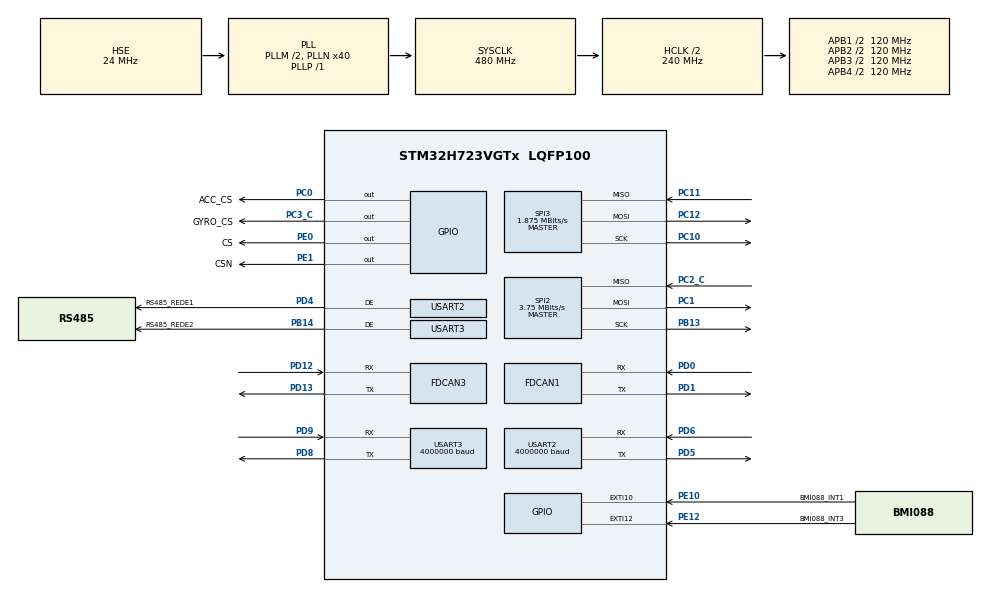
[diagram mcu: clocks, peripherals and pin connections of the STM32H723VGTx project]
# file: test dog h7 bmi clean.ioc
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CORTEX_M7.default_mode_Activation=1
Dma.Request0=USART2_RX
Dma.Request1=USART2_TX
Dma.Request2=USART3_RX
Dma.Request3=USART3_TX
Dma.USART2_RX.0.Direction=DMA_PERIPH_TO_MEMORY
Dma.USART2_RX.0.EventEnable=DISABLE
Dma.USART2_RX.0.FIFOMode=DMA_FIFOMODE_DISABLE
Dma.USART2_RX.0.Instance=DMA2_Stream0
Dma.USART2_RX.0.MemDataAlignment=DMA_MDATAALIGN_BYTE
Dma.USART2_RX.0.MemInc=DMA_MINC_ENABLE
Dma.USART2_RX.0.Mode=DMA_NORMAL
Dma.USART2_RX.0.PeriphDataAlignment=DMA_PDATAALIGN_BYTE
Dma.USART2_RX.0.PeriphInc=DMA_PINC_DISABLE
Dma.USART2_RX.0.Polarity=HAL_DMAMUX_REQ_GEN_RISING
Dma.USART2_RX.0.Priority=DMA_PRIORITY_MEDIUM
Dma.USART2_RX.0.RequestNumber=1
Dma.USART2_RX.0.SignalID=NONE
Dma.USART2_RX.0.SyncEnable=DISABLE
Dma.USART2_RX.0.SyncPolarity=HAL_DMAMUX_SYNC_NO_EVENT
Dma.USART2_RX.0.SyncRequestNumber=1
Dma.USART2_RX.0.SyncSignalID=NONE
Dma.USART2_TX.1.Direction=DMA_MEMORY_TO_PERIPH
Dma.USART2_TX.1.EventEnable=DISABLE
Dma.USART2_TX.1.FIFOMode=DMA_FIFOMODE_DISABLE
Dma.USART2_TX.1.Instance=DMA2_Stream1
Dma.USART2_TX.1.MemDataAlignment=DMA_MDATAALIGN_BYTE
Dma.USART2_TX.1.MemInc=DMA_MINC_ENABLE
Dma.USART2_TX.1.Mode=DMA_NORMAL
Dma.USART2_TX.1.PeriphDataAlignment=DMA_PDATAALIGN_BYTE
Dma.USART2_TX.1.PeriphInc=DMA_PINC_DISABLE
Dma.USART2_TX.1.Polarity=HAL_DMAMUX_REQ_GEN_RISING
Dma.USART2_TX.1.Priority=DMA_PRIORITY_MEDIUM
Dma.USART2_TX.1.RequestNumber=1
Dma.USART2_TX.1.SignalID=NONE
Dma.USART2_TX.1.SyncEnable=DISABLE
Dma.USART2_TX.1.SyncPolarity=HAL_DMAMUX_SYNC_NO_EVENT
Dma.USART2_TX.1.SyncRequestNumber=1
Dma.USART2_TX.1.SyncSignalID=NONE
Dma.USART3_RX.2.Direction=DMA_PERIPH_TO_MEMORY
Dma.USART3_RX.2.EventEnable=DISABLE
Dma.USART3_RX.2.FIFOMode=DMA_FIFOMODE_DISABLE
Dma.USART3_RX.2.Instance=DMA1_Stream2
Dma.USART3_RX.2.MemDataAlignment=DMA_MDATAALIGN_BYTE
Dma.USART3_RX.2.MemInc=DMA_MINC_ENABLE
Dma.USART3_RX.2.Mode=DMA_NORMAL
Dma.USART3_RX.2.PeriphDataAlignment=DMA_PDATAALIGN_BYTE
Dma.USART3_RX.2.PeriphInc=DMA_PINC_DISABLE
Dma.USART3_RX.2.Polarity=HAL_DMAMUX_REQ_GEN_RISING
Dma.USART3_RX.2.Priority=DMA_PRIORITY_MEDIUM
Dma.USART3_RX.2.RequestNumber=1
Dma.USART3_RX.2.SignalID=NONE
Dma.USART3_RX.2.SyncEnable=DISABLE
Dma.USART3_RX.2.SyncPolarity=HAL_DMAMUX_SYNC_NO_EVENT
Dma.USART3_RX.2.SyncRequestNumber=1
Dma.USART3_RX.2.SyncSignalID=NONE
Dma.USART3_TX.3.Direction=DMA_MEMORY_TO_PERIPH
Dma.USART3_TX.3.EventEnable=DISABLE
Dma.USART3_TX.3.FIFOMode=DMA_FIFOMODE_DISABLE
Dma.USART3_TX.3.Instance=DMA1_Stream3
Dma.USART3_TX.3.MemDataAlignment=DMA_MDATAALIGN_BYTE
Dma.USART3_TX.3.MemInc=DMA_MINC_ENABLE
Dma.USART3_TX.3.Mode=DMA_NORMAL
Dma.USART3_TX.3.PeriphDataAlignment=DMA_PDATAALIGN_BYTE
Dma.USART3_TX.3.PeriphInc=DMA_PINC_DISABLE
Dma.USART3_TX.3.Polarity=HAL_DMAMUX_REQ_GEN_RISING
Dma.USART3_TX.3.Priority=DMA_PRIORITY_MEDIUM
Dma.USART3_TX.3.RequestNumber=1
Dma.USART3_TX.3.SignalID=NONE
Dma.USART3_TX.3.SyncEnable=DISABLE
Dma.USART3_TX.3.SyncPolarity=HAL_DMAMUX_SYNC_NO_EVENT
Dma.USART3_TX.3.SyncRequestNumber=1
Dma.USART3_TX.3.SyncSignalID=NONE
FDCAN1.CalculateBaudRateNominal=1000000
FDCAN1.CalculateTimeBitNominal=1000
FDCAN1.CalculateTimeQuantumNominal=25.0
FDCAN1.DataPrescaler=3
FDCAN1.DataSyncJumpWidth=10
FDCAN1.DataTimeSeg1=29
FDCAN1.DataTimeSeg2=10
FDCAN1.NominalPrescaler=3
FDCAN1.NominalSyncJumpWidth=10
FDCAN1.NominalTimeSeg1=29
FDCAN1.NominalTimeSeg2=10
FDCAN1.ProtocolException=ENABLE
FDCAN1.RxFifo0ElmtsNbr=2
FDCAN1.StdFiltersNbr=1
FDCAN1.TxFifoQueueElmtsNbr=2
FDCAN3.CalculateBaudRateNominal=1000000
FDCAN3.CalculateTimeBitNominal=1000
FDCAN3.CalculateTimeQuantumNominal=25.0
FDCAN3.DataPrescaler=3
FDCAN3.DataSyncJumpWidth=10
FDCAN3.DataTimeSeg1=29
FDCAN3.DataTimeSeg2=10
FDCAN3.MessageRAMOffset=0
FDCAN3.NominalPrescaler=3
FDCAN3.NominalSyncJumpWidth=10
FDCAN3.NominalTimeSeg1=29
FDCAN3.NominalTimeSeg2=10
FDCAN3.ProtocolException=ENABLE
FDCAN3.RxFifo0ElmtsNbr=2
FDCAN3.StdFiltersNbr=1
FDCAN3.TxFifoQueueElmtsNbr=2
Mcu.Family=STM32H7
Mcu.Name=STM32H723VGTx
Mcu.Package=LQFP100
NVIC.DMA1_Stream2_IRQn=true\:0\:0\:false\:false\:true\:false\:true\:true
NVIC.DMA1_Stream3_IRQn=true\:0\:0\:false\:false\:true\:false\:true\:true
NVIC.DMA2_Stream0_IRQn=true\:0\:0\:false\:false\:true\:false\:true\:true
NVIC.DMA2_Stream1_IRQn=true\:0\:0\:false\:false\:true\:false\:true\:true
NVIC.EXTI15_10_IRQn=true\:0\:0\:false\:false\:true\:true\:true\:true
NVIC.FDCAN1_IT0_IRQn=true\:1\:0\:true\:false\:true\:true\:true\:true
NVIC.FDCAN1_IT1_IRQn=true\:1\:0\:true\:false\:true\:true\:true\:true
NVIC.FDCAN3_IT0_IRQn=true\:1\:0\:true\:false\:true\:true\:true\:true
NVIC.FDCAN3_IT1_IRQn=true\:1\:0\:true\:false\:true\:true\:true\:true
NVIC.FDCAN_CAL_IRQn=true\:0\:0\:false\:false\:true\:true\:true\:true
NVIC.PriorityGroup=NVIC_PRIORITYGROUP_4
NVIC.TIM3_IRQn=true\:3\:0\:true\:false\:true\:true\:true\:true
NVIC.TIM4_IRQn=true\:3\:0\:true\:false\:true\:true\:true\:true
NVIC.USART2_IRQn=true\:3\:0\:true\:false\:true\:true\:true\:true
NVIC.USART3_IRQn=true\:3\:0\:true\:false\:true\:true\:true\:true
PA13(JTMS/SWDIO).Signal=DEBUG_JTMS-SWDIO
PA14(JTCK/SWCLK).Signal=DEBUG_JTCK-SWCLK
PB14.GPIO_Label=RS485_REDE2
PB14.Mode=Hardware Flow Control (RS485)
PB14.Signal=USART3_DE
PC10.Mode=Full_Duplex_Master
PC10.Signal=SPI3_SCK
PC11.Mode=Full_Duplex_Master
PC11.Signal=SPI3_MISO
PC12.Mode=Full_Duplex_Master
PC12.Signal=SPI3_MOSI
PB13.Mode=Full_Duplex_Master
PB13.Signal=SPI2_SCK
PC0.GPIO_Label=ACC_CS
PC0.PinState=GPIO_PIN_SET
PC0.Signal=GPIO_Output
PC1.Mode=Full_Duplex_Master
PC1.Signal=SPI2_MOSI
PC2_C.Mode=Full_Duplex_Master
PC2_C.Signal=SPI2_MISO
PC3_C.GPIO_Label=GYRO_CS
PC3_C.PinState=GPIO_PIN_SET
PC3_C.Signal=GPIO_Output
PD0.Mode=FDCAN_Activate
PD0.Signal=FDCAN1_RX
PD1.Mode=FDCAN_Activate
PD1.Signal=FDCAN1_TX
PD12.Mode=FDCAN_Activate
PD12.Signal=FDCAN3_RX
PD13.Mode=FDCAN_Activate
PD13.Signal=FDCAN3_TX
PD4.GPIO_Label=RS485_REDE1
PD4.Mode=Hardware Flow Control (RS485)
PD4.Signal=USART2_DE
PD5.Mode=Asynchronous
PD5.Signal=USART2_TX
PD6.Mode=Asynchronous
PD6.Signal=USART2_RX
PD8.Mode=Asynchronous
PD8.Signal=USART3_TX
PD9.Mode=Asynchronous
PD9.Signal=USART3_RX
PE0.GPIO_Label=CS
PE0.GPIO_PuPd=GPIO_PULLDOWN
PE0.GPIO_Speed=GPIO_SPEED_FREQ_MEDIUM
PE0.Signal=GPIO_Output
PE1.GPIO_Label=CSN
PE1.GPIO_PuPd=GPIO_PULLUP
PE1.GPIO_Speed=GPIO_SPEED_FREQ_MEDIUM
PE1.PinState=GPIO_PIN_SET
PE1.Signal=GPIO_Output
PE10.GPIO_Label=BMI088_INT1
PE10.GPIO_PuPd=GPIO_PULLDOWN
PE10.Signal=GPXTI10
PE12.GPIO_Label=BMI088_INT3
PE12.GPIO_PuPd=GPIO_PULLDOWN
PE12.Signal=GPXTI12
PH0-OSC_IN.Mode=HSE-External-Oscillator
PH0-OSC_IN.Signal=RCC_OSC_IN
PH1-OSC_OUT.Mode=HSE-External-Oscillator
PH1-OSC_OUT.Signal=RCC_OSC_OUT
ProjectManager.HeapSize=0x200
ProjectManager.StackSize=0x400
ProjectManager.TargetToolchain=STM32CubeIDE
RCC.ADCFreq_Value=48375000
RCC.APB1Freq_Value=120000000
RCC.APB2Freq_Value=120000000
RCC.APB3Freq_Value=120000000
RCC.APB4Freq_Value=120000000
RCC.CortexFreq_Value=480000000
RCC.D1PPRE=RCC_APB3_DIV2
RCC.D2PPRE1=RCC_APB1_DIV2
RCC.D2PPRE2=RCC_APB2_DIV2
RCC.D3PPRE=RCC_APB4_DIV2
RCC.DIVM1=2
RCC.DIVN1=40
RCC.DIVP1=1
RCC.DIVQ1=4
RCC.HCLKFreq_Value=240000000
RCC.HPRE=RCC_HCLK_DIV2
RCC.HSE_VALUE=24000000
RCC.PLL2FRACN=0
RCC.PLL3FRACN=0
RCC.PLLFRACN=0
RCC.PLLSourceVirtual=RCC_PLLSOURCE_HSE
RCC.SYSCLKFreq_VALUE=480000000
RCC.SYSCLKSource=RCC_SYSCLKSOURCE_PLLCLK
RCC.USBFreq_Value=120000000
SPI3.BaudRatePrescaler=SPI_BAUDRATEPRESCALER_64
SPI3.CalculateBaudRate=1.875 MBits/s
SPI3.DataSize=SPI_DATASIZE_8BIT
SPI3.Direction=SPI_DIRECTION_2LINES
SPI3.Mode=SPI_MODE_MASTER
SPI3.VirtualType=VM_MASTER
SPI2.BaudRatePrescaler=SPI_BAUDRATEPRESCALER_32
SPI2.CLKPhase=SPI_PHASE_2EDGE
SPI2.CLKPolarity=SPI_POLARITY_HIGH
SPI2.CalculateBaudRate=3.75 MBits/s
SPI2.DataSize=SPI_DATASIZE_8BIT
SPI2.Direction=SPI_DIRECTION_2LINES
SPI2.Mode=SPI_MODE_MASTER
SPI2.VirtualType=VM_MASTER
TIM3.Period=1000-1
TIM3.Prescaler=120-1
TIM4.Period=1000-1
TIM4.Prescaler=120-1
USART2.BaudRate=4000000
USART2.UART_DEDeassertionTime=0
USART2.VirtualMode-Asynchronous=VM_ASYNC
USART2.VirtualMode-Hardware\ Flow\ Control\ (RS485)=VM_ASYNC
USART3.BaudRate=4000000
USART3.VirtualMode-Asynchronous=VM_ASYNC
USART3.VirtualMode-Hardware\ Flow\ Control\ (RS485)=VM_ASYNC
VP_MEMORYMAP_VS_MEMORYMAP.Mode=CurAppReg
VP_TIM3_VS_ClockSourceINT.Mode=Internal
VP_TIM4_VS_ClockSourceINT.Mode=Internal
board=custom

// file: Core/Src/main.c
/* USER CODE BEGIN Header */
/**
 ******************************************************************************
 * @file           : main.c
 * @brief          : Main program body
 ******************************************************************************
 * @attention
 *
 * Copyright (c) 2026 STMicroelectronics.
 * All rights reserved.
 *
 * This software is licensed under terms that can be found in the LICENSE file
 * in the root directory of this software component.
 * If no LICENSE file comes with this software, it is provided AS-IS.
 *
 ******************************************************************************
 */
/* USER CODE END Header */
#include "main.h"
#include "dma.h"
#include "fdcan.h"
#include "spi.h"
#include "tim.h"
#include "usart.h"
#include "gpio.h"

/* USER CODE BEGIN Includes */
#include "../../BSP/MOTORS/8010/gom_protocol.h"
#include <string.h>
#include "../../BSP/MOTORS/8010/motor_controller.h"
#include "../../BSP/MOTORS/8010/rs485.h"
#include <stdio.h>
#include "../../BSP/MOTORS/3508/3508_driver.h"
#include "../../MIddleware/kinematics.h"
#include "../../Application/gait.h"
#include "../../BSP/AS01/AS01.h"
#include "Attitude_solution.h"
#include "../../Application/control.h"
#include "../../Application/Chassis_Control.h"
/* USER CODE END Includes */

/* USER CODE BEGIN PV */
extern UART_HandleTypeDef huart2;
extern UART_HandleTypeDef huart3;
extern FDCAN_HandleTypeDef hfdcan1; // 确保 FDCAN1 声明存在
extern FDCAN_HandleTypeDef hfdcan3;
Currentpos currentpos1;
Currentpos currentpos2;
Currentpos currentpos3;
Currentpos currentpos4;
LegAngles angles;
QuadrupedGait gait;
extern Motor_3508_T Motors[4];
MotorController ctrl1;
MotorController ctrl2;
RemoteData_t myPacket;
uint8_t rx_buffer[32];
uint8_t rx_data[32];
float gyro[3] = {0};
float accel[3] = {0};
float temp = 0.0f;
uint32_t attitude_last_time = 0;
float debug_pitch = 0.0f;
float debug_roll = 0.0f;
float debug_yaw = 0.0f;
int is_calibrated = 1;
/* USER CODE END PV */

void SystemClock_Config(void);
static void MPU_Config(void);
/* USER CODE BEGIN PFP */
void Task_System_State_Update(void);

/* USER CODE END PFP */

/* USER CODE BEGIN 0 */
void HAL_TIM_PeriodElapsedCallback(TIM_HandleTypeDef *htim) {
	/* USER CODE BEGIN Callback 0 */
	if (htim->Instance == TIM4) {
		static uint8_t step = 0;
		switch (step) {
		case 0:
			MotorController_SendCommand2(&ctrl2, 1);
			step = 1;
			break;
		case 1:
			MotorController_SendCommand2(&ctrl2, 2);
			step = 2;
			break;
		case 2:
			MotorController_SendCommand2(&ctrl2, 7);
			step = 3;
			break;
		case 3:
			MotorController_SendCommand2(&ctrl2, 8);
			step = 0;
			break;
		}
	}
	if (htim->Instance == TIM3) {
		static uint8_t time = 0;
		switch (time) {
		case 0:
			MotorController_SendCommand1(&ctrl1, 3);
			time = 1;
			break;
		case 1:
			MotorController_SendCommand1(&ctrl1, 4);
			time = 2;
			break;
		case 2:
			MotorController_SendCommand1(&ctrl1, 6);
			time = 3;
			break;
		case 3:
			MotorController_SendCommand1(&ctrl1, 5);
			time = 0;
			break;
		}
	}

}

/**
 * @brief   接收回调函数
 * @param   hfdcan      FDCAN句柄指针
 * @param   RxFifo0ITs  FIFO0中断标志
 * @retval  none
 */
// 在你的 main.c 或者 fdcan.c 里的中断回调函数中
void HAL_FDCAN_RxFifo0Callback(FDCAN_HandleTypeDef *hfdcan, uint32_t RxFifo0ITs)
{
    FDCAN_RxHeaderTypeDef RxHeader;
    uint8_t RxData[8];

    if ((RxFifo0ITs & FDCAN_IT_RX_FIFO0_NEW_MESSAGE) != 0) {
        while (HAL_FDCAN_GetRxFifoFillLevel(hfdcan, FDCAN_RX_FIFO0) > 0) {
            if (HAL_FDCAN_GetRxMessage(hfdcan, FDCAN_RX_FIFO0, &RxHeader, RxData) == HAL_OK) {
                if (hfdcan->Instance == FDCAN1) {
                    D3508_Decode(RxData, (uint16_t)RxHeader.Identifier);
                }
                else if (hfdcan->Instance == FDCAN3) {
                    D3508_Decode(RxData, (uint16_t)RxHeader.Identifier);
                }
            }
        }
    }
}

void Task_System_State_Update(void)
{
    uint32_t current_time = HAL_GetTick();
    float dt = (current_time - attitude_last_time) / 1000.0f;
    attitude_last_time = current_time;

    if (dt > 0.1f || dt < 0.001f) {
        dt = 0.01f;
    }

    Attitude_Update(dt);

    debug_pitch = g_Attitude.Angle_Pitch;
    debug_roll = g_Attitude.Angle_Roll;
    debug_yaw = g_Attitude.Angle_Yaw;

    gyro[0] = g_Attitude.Gyro_X;
    gyro[1] = g_Attitude.Gyro_Y;
    gyro[2] = g_Attitude.Gyro_Z;
    accel[0] = g_Attitude.Accel_X;
    accel[1] = g_Attitude.Accel_Y;
    accel[2] = g_Attitude.Accel_Z;
    temp = g_Attitude.Temperature;
}
/* USER CODE END 0 */

int main(void)
{

  /* MPU Configuration--------------------------------------------------------*/
  MPU_Config();

  /* MCU Configuration--------------------------------------------------------*/

  /* Reset of all peripherals, Initializes the Flash interface and the Systick. */
  HAL_Init();

  /* Configure the system clock */
  SystemClock_Config();

  /* Initialize all configured peripherals */
  MX_GPIO_Init();
  MX_DMA_Init();
  MX_SPI2_Init();
  MX_SPI3_Init();
  MX_TIM4_Init();
  MX_USART2_UART_Init();
  MX_USART3_UART_Init();
  MX_FDCAN3_Init();
  MX_FDCAN1_Init();
  MX_TIM3_Init();
  /* USER CODE BEGIN 2 */
  HAL_FDCAN_ActivateNotification(&hfdcan3, FDCAN_IT_RX_FIFO0_NEW_MESSAGE, 0);
    FDCAN1_Filter_Init();
    FDCAN3_Filter_Init();
    HAL_Delay(1000);
	D3508_Init();
    Attitude_Init();

	MotorController_Init(&ctrl1, &huart2, RS485_REDE1_GPIO_Port, RS485_REDE1_Pin);
	MotorController_Init(&ctrl2, &huart3, RS485_REDE2_GPIO_Port, RS485_REDE2_Pin);

    uint32_t startTime = HAL_GetTick() / 1000;
    uint32_t last_tick = HAL_GetTick();
	uint32_t last_kinematics_tick = HAL_GetTick();
	state_zero(startTime,2.7);
    HAL_Delay(500);
	if (NRF24L01_Check_SPI() == 0) {
		NRF24L01_Init();
	}
    HAL_Delay(20);
    if (g_Attitude.Init_OK) {
        Attitude_Calibrate_ZeroBias();
    }
	HAL_TIM_Base_Start_IT(&htim4);
	HAL_TIM_Base_Start_IT(&htim3);
    attitude_last_time = HAL_GetTick();
  /* USER CODE END 2 */

  /* Infinite loop */
  /* USER CODE BEGIN WHILE */
	while (1) {
        uint32_t now = HAL_GetTick();
        if(now - last_tick >= 5) {
            last_tick = now;
//            for(int i = 0; i < 4; i++) {
//                float motor_angle = 200.0f;
//                Motors[i].target_angle = (int64_t)(motor_angle * 19.0f * 8192.0f / 360.0f);
//                PID_Calc_Position(i, Motors[i].target_angle);
//            }
//            send_current();
            Task_System_State_Update();
            Chassis_Attitude_Update();
        }
		if (now - last_kinematics_tick >= 20) {
			last_kinematics_tick = now;

			AS01_rx(&ctrl1, &ctrl2, &gait, startTime, angles, now);
//			currentpos1 = ForwardKinematics(&ctrl2, 1, 2);
//			currentpos2 = ForwardKinematics(&ctrl2, 7, 8);
//			currentpos3 = ForwardKinematics(&ctrl1, 3, 4);
//			currentpos4 = ForwardKinematics(&ctrl1, 6, 5);
		}
    /* USER CODE END WHILE */

	}
}

void SystemClock_Config(void)
{
  RCC_OscInitTypeDef RCC_OscInitStruct = {0};
  RCC_ClkInitTypeDef RCC_ClkInitStruct = {0};

  /** Supply configuration update enable
  */
  HAL_PWREx_ConfigSupply(PWR_LDO_SUPPLY);

  /** Configure the main internal regulator output voltage
  */
  __HAL_PWR_VOLTAGESCALING_CONFIG(PWR_REGULATOR_VOLTAGE_SCALE0);

  while(!__HAL_PWR_GET_FLAG(PWR_FLAG_VOSRDY)) {}

  /** Initializes the RCC Oscillators according to the specified parameters
  * in the RCC_OscInitTypeDef structure.
  */
  RCC_OscInitStruct.OscillatorType = RCC_OSCILLATORTYPE_HSE;
  RCC_OscInitStruct.HSEState = RCC_HSE_ON;
  RCC_OscInitStruct.PLL.PLLState = RCC_PLL_ON;
  RCC_OscInitStruct.PLL.PLLSource = RCC_PLLSOURCE_HSE;
  RCC_OscInitStruct.PLL.PLLM = 2;
  RCC_OscInitStruct.PLL.PLLN = 40;
  RCC_OscInitStruct.PLL.PLLP = 1;
  RCC_OscInitStruct.PLL.PLLQ = 4;
  RCC_OscInitStruct.PLL.PLLR = 2;
  RCC_OscInitStruct.PLL.PLLRGE = RCC_PLL1VCIRANGE_3;
  RCC_OscInitStruct.PLL.PLLVCOSEL = RCC_PLL1VCOWIDE;
  RCC_OscInitStruct.PLL.PLLFRACN = 0;
  if (HAL_RCC_OscConfig(&RCC_OscInitStruct) != HAL_OK)
  {
    Error_Handler();
  }

  /** Initializes the CPU, AHB and APB buses clocks
  */
  RCC_ClkInitStruct.ClockType = RCC_CLOCKTYPE_HCLK|RCC_CLOCKTYPE_SYSCLK
                              |RCC_CLOCKTYPE_PCLK1|RCC_CLOCKTYPE_PCLK2
                              |RCC_CLOCKTYPE_D3PCLK1|RCC_CLOCKTYPE_D1PCLK1;
  RCC_ClkInitStruct.SYSCLKSource = RCC_SYSCLKSOURCE_PLLCLK;
  RCC_ClkInitStruct.SYSCLKDivider = RCC_SYSCLK_DIV1;
  RCC_ClkInitStruct.AHBCLKDivider = RCC_HCLK_DIV2;
  RCC_ClkInitStruct.APB3CLKDivider = RCC_APB3_DIV2;
  RCC_ClkInitStruct.APB1CLKDivider = RCC_APB1_DIV2;
  RCC_ClkInitStruct.APB2CLKDivider = RCC_APB2_DIV2;
  RCC_ClkInitStruct.APB4CLKDivider = RCC_APB4_DIV2;

  if (HAL_RCC_ClockConfig(&RCC_ClkInitStruct, FLASH_LATENCY_3) != HAL_OK)
  {
    Error_Handler();
  }
}

/* USER CODE BEGIN 4 */

void HAL_UART_TxCpltCallback(UART_HandleTypeDef *huart) {
	if (huart == &huart2) {
//		RS485_RxMode1();
		HAL_UART_Receive_DMA(ctrl1.uart,
				(uint8_t*) &ctrl1.datas[ctrl1.last_sent_motor_id].motor_recv_data,
				sizeof(ctrl1.datas[ctrl1.last_sent_motor_id].motor_recv_data));

	}
	if (huart == &huart3) {
//		RS485_RxMode2();
		HAL_UART_Receive_DMA(ctrl2.uart,
				(uint8_t*) &ctrl2.datas[ctrl2.last_sent_motor_id].motor_recv_data,
				sizeof(ctrl2.datas[ctrl2.last_sent_motor_id].motor_recv_data));

	}
}
void HAL_UART_RxCpltCallback(UART_HandleTypeDef *huart) {
	if (huart == &huart2) {
		extract_data(&ctrl1.datas[ctrl1.last_sent_motor_id]); // 处理数据
		ctrl1.dma_busy = 0;
	}
	if (huart == &huart3) {
		extract_data(&ctrl2.datas[ctrl2.last_sent_motor_id]); // 处理数据
		ctrl2.dma_busy = 0;
	}
}
void HAL_UART_ErrorCallback(UART_HandleTypeDef *huart) {
	// 匹配是哪个控制器的 UART 发生了错误
	if (huart == &huart2) {
		extern MotorController ctrl1;
		ctrl1.dma_busy = 0;
		HAL_UART_Abort(huart);
		HAL_UART_AbortReceive_IT(huart);
		if (ctrl1.de_port != NULL) {
			HAL_GPIO_WritePin(ctrl1.de_port, ctrl1.de_pin, GPIO_PIN_RESET);
		}
		HAL_UART_Receive_DMA(ctrl1.uart,
				(uint8_t*) &ctrl1.datas[ctrl1.last_sent_motor_id].motor_recv_data,
				sizeof(ctrl1.datas[ctrl1.last_sent_motor_id].motor_recv_data));
	} else if (huart == &huart3) {
		extern MotorController ctrl2;
		ctrl2.dma_busy = 0;
		HAL_UART_Abort(huart);
		HAL_UART_AbortReceive_IT(huart);
		if (ctrl2.de_port != NULL) {
			HAL_GPIO_WritePin(ctrl2.de_port, ctrl2.de_pin, GPIO_PIN_RESET);
		}
		HAL_UART_Receive_DMA(ctrl2.uart,
				(uint8_t*) &ctrl2.datas[ctrl2.last_sent_motor_id].motor_recv_data,
				sizeof(ctrl2.datas[ctrl2.last_sent_motor_id].motor_recv_data));
	}
}
/* USER CODE END 4 */

 /* MPU Configuration */

void MPU_Config(void)
{
  MPU_Region_InitTypeDef MPU_InitStruct = {0};

  /* Disables the MPU */
  HAL_MPU_Disable();

  /** Initializes and configures the Region and the memory to be protected
  */
  MPU_InitStruct.Enable = MPU_REGION_ENABLE;
  MPU_InitStruct.Number = MPU_REGION_NUMBER0;
  MPU_InitStruct.BaseAddress = 0x0;
  MPU_InitStruct.Size = MPU_REGION_SIZE_4GB;
  MPU_InitStruct.SubRegionDisable = 0x87;
  MPU_InitStruct.TypeExtField = MPU_TEX_LEVEL0;
  MPU_InitStruct.AccessPermission = MPU_REGION_NO_ACCESS;
  MPU_InitStruct.DisableExec = MPU_INSTRUCTION_ACCESS_DISABLE;
  MPU_InitStruct.IsShareable = MPU_ACCESS_SHAREABLE;
  MPU_InitStruct.IsCacheable = MPU_ACCESS_NOT_CACHEABLE;
  MPU_InitStruct.IsBufferable = MPU_ACCESS_NOT_BUFFERABLE;

  HAL_MPU_ConfigRegion(&MPU_InitStruct);
  /* Enables the MPU */
  HAL_MPU_Enable(MPU_PRIVILEGED_DEFAULT);

}

void Error_Handler(void)
{
  __disable_irq();
  while (1)
  {
  }
}
